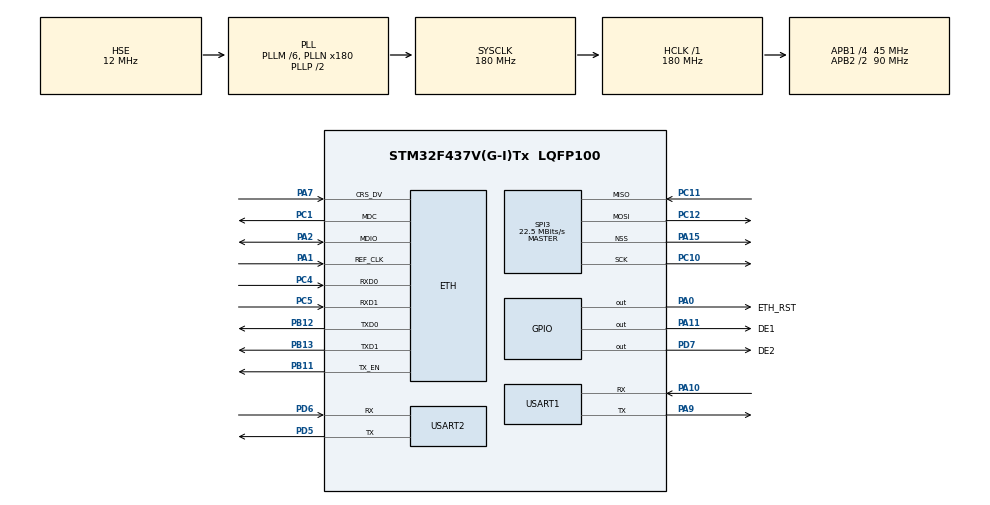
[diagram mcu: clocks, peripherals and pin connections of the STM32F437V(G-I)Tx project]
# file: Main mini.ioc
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ETH.MediaInterface=ETH_MEDIA_INTERFACE_RMII
ETH.PhyAddress=0
FREERTOS.BinarySemaphores01=InDataTCP,Dynamic,NULL;ModBusEnd,Dynamic,NULL
FREERTOS.Tasks01=MainTask,-2,256,mainTask,Default,NULL,Dynamic,NULL,NULL;ModBus1Task,-2,256,modbus1Task,Default,NULL,Dynamic,NULL,NULL;ModBus2Task,-2,256,modbus2Task,Default,NULL,Dynamic,NULL,NULL;TCP_Server,-2,256,tcp_server,Default,NULL,Dynamic,NULL,NULL
FREERTOS.configTOTAL_HEAP_SIZE=100000
LWIP.LWIP_DNS=1
LWIP.MEM_SIZE=2048
LWIP.Version=v2.1.2_Cube
Mcu.Family=STM32F4
Mcu.Name=STM32F437V(G-I)Tx
Mcu.Package=LQFP100
NVIC.ETH_IRQn=true\:5\:0\:false\:false\:true\:true\:false\:true
NVIC.PriorityGroup=NVIC_PRIORITYGROUP_4
NVIC.TIM7_IRQn=true\:0\:0\:false\:false\:true\:false\:false\:true
NVIC.TIM8_TRG_COM_TIM14_IRQn=true\:5\:0\:false\:false\:true\:true\:true\:true
NVIC.TIM8_UP_TIM13_IRQn=true\:5\:0\:false\:false\:true\:true\:true\:true
NVIC.TimeBase=TIM7_IRQn
NVIC.TimeBaseIP=TIM7
NVIC.USART1_IRQn=true\:5\:0\:false\:false\:true\:true\:true\:true
NVIC.USART2_IRQn=true\:5\:0\:false\:false\:true\:true\:true\:true
PA0/WKUP.GPIO_Label=ETH_RST
PA0/WKUP.Signal=GPIO_Output
PA1.Mode=RMII
PA1.Signal=ETH_REF_CLK
PA10.Mode=Asynchronous
PA10.Signal=USART1_RX
PA11.GPIO_Label=DE1
PA11.Signal=GPIO_Output
PA13.Mode=Serial_Wire
PA13.Signal=SYS_JTMS-SWDIO
PA14.Mode=Serial_Wire
PA14.Signal=SYS_JTCK-SWCLK
PA15.Mode=NSS_Signal_Hard_Output
PA15.Signal=SPI3_NSS
PA2.Mode=RMII
PA2.Signal=ETH_MDIO
PA7.Mode=RMII
PA7.Signal=ETH_CRS_DV
PA9.Mode=Asynchronous
PA9.Signal=USART1_TX
PB11.Mode=RMII
PB11.Signal=ETH_TX_EN
PB12.Mode=RMII
PB12.Signal=ETH_TXD0
PB13.Mode=RMII
PB13.Signal=ETH_TXD1
PC1.Mode=RMII
PC1.Signal=ETH_MDC
PC10.Mode=Full_Duplex_Master
PC10.Signal=SPI3_SCK
PC11.Mode=Full_Duplex_Master
PC11.Signal=SPI3_MISO
PC12.Mode=Full_Duplex_Master
PC12.Signal=SPI3_MOSI
PC4.Mode=RMII
PC4.Signal=ETH_RXD0
PC5.Mode=RMII
PC5.Signal=ETH_RXD1
PD5.Mode=Asynchronous
PD5.Signal=USART2_TX
PD6.Mode=Asynchronous
PD6.Signal=USART2_RX
PD7.GPIO_Label=DE2
PD7.Signal=GPIO_Output
PH0/OSC_IN.Mode=HSE-External-Oscillator
PH0/OSC_IN.Signal=RCC_OSC_IN
PH1/OSC_OUT.Mode=HSE-External-Oscillator
PH1/OSC_OUT.Signal=RCC_OSC_OUT
ProjectManager.HeapSize=0x200
ProjectManager.StackSize=0x400
ProjectManager.TargetToolchain=EWARM V8.32
RCC.48MHZClocksFreq_Value=90000000
RCC.AHBFreq_Value=180000000
RCC.APB1CLKDivider=RCC_HCLK_DIV4
RCC.APB1Freq_Value=45000000
RCC.APB1TimFreq_Value=90000000
RCC.APB2CLKDivider=RCC_HCLK_DIV2
RCC.APB2Freq_Value=90000000
RCC.APB2TimFreq_Value=180000000
RCC.CortexFreq_Value=180000000
RCC.HCLKFreq_Value=180000000
RCC.HSE_VALUE=12000000
RCC.HSI_VALUE=16000000
RCC.LSE_VALUE=32768
RCC.PLLM=6
RCC.PLLN=180
RCC.PLLSourceVirtual=RCC_PLLSOURCE_HSE
RCC.SYSCLKFreq_VALUE=180000000
RCC.SYSCLKSource=RCC_SYSCLKSOURCE_PLLCLK
RCC.VCOOutputFreq_Value=360000000
SPI3.CalculateBaudRate=22.5 MBits/s
SPI3.Direction=SPI_DIRECTION_2LINES
SPI3.Mode=SPI_MODE_MASTER
SPI3.VirtualNSS=VM_NSSHARD
SPI3.VirtualType=VM_MASTER
TIM13.Period=49
TIM13.Prescaler=179
TIM14.Period=49
TIM14.Prescaler=179
USART1.VirtualMode=VM_ASYNC
USART2.VirtualMode=VM_ASYNC
VP_FREERTOS_VS_CMSIS_V1.Mode=CMSIS_V1
VP_LWIP_VS_Enabled.Mode=Enabled
VP_SYS_VS_tim7.Mode=TIM7
VP_TIM13_VS_ClockSourceINT.Mode=Enable_Timer
VP_TIM14_VS_ClockSourceINT.Mode=Enable_Timer
board=custom

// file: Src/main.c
/* USER CODE BEGIN Header */
/**
  ******************************************************************************
  * @file           : main.c
  * @brief          : Main program body
  ******************************************************************************
  * @attention
  *
  * <h2><center>&copy; Copyright (c) 2021 STMicroelectronics.
  * All rights reserved.</center></h2>
  *
  * This software component is licensed by ST under Ultimate Liberty license
  * SLA0044, the "License"; You may not use this file except in compliance with
  * the License. You may obtain a copy of the License at:
  *                             www.st.com/SLA0044
  *
  ******************************************************************************
  */
/* USER CODE END Header */
#include "main.h"
#include "cmsis_os.h"
#include "lwip.h"
#include "spi.h"
#include "tim.h"
#include "usart.h"
#include "gpio.h"

/* USER CODE BEGIN Includes */
#include "mb.h"
#include "mbport.h"
#include "user_mb_app_m.h"
/* USER CODE END Includes */

void SystemClock_Config(void);
void MX_FREERTOS_Init(void);

int main(void)
{

  /* MCU Configuration--------------------------------------------------------*/

  /* Reset of all peripherals, Initializes the Flash interface and the Systick. */
  HAL_Init();

  /* Configure the system clock */
  SystemClock_Config();

  /* Initialize all configured peripherals */
  MX_GPIO_Init();
  MX_SPI3_Init();
  MX_USART1_UART_Init();
  MX_USART2_UART_Init();
  MX_TIM13_Init();
  MX_TIM14_Init();
  /* USER CODE BEGIN 2 */

  HAL_GPIO_WritePin(ETH_RST_GPIO_Port, ETH_RST_Pin, GPIO_PIN_RESET);
  HAL_Delay(300);
  HAL_GPIO_WritePin(ETH_RST_GPIO_Port, ETH_RST_Pin, GPIO_PIN_SET);
  /* USER CODE END 2 */

  /* Call init function for freertos objects (in freertos.c) */
  MX_FREERTOS_Init();
  /* Start scheduler */
  osKernelStart();

  /* We should never get here as control is now taken by the scheduler */
  /* Infinite loop */
  while (1)
  {

  }
}

void SystemClock_Config(void)
{
  RCC_OscInitTypeDef RCC_OscInitStruct = {0};
  RCC_ClkInitTypeDef RCC_ClkInitStruct = {0};

  /** Configure the main internal regulator output voltage
  */
  __HAL_RCC_PWR_CLK_ENABLE();
  __HAL_PWR_VOLTAGESCALING_CONFIG(PWR_REGULATOR_VOLTAGE_SCALE1);
  /** Initializes the RCC Oscillators according to the specified parameters
  * in the RCC_OscInitTypeDef structure.
  */
  RCC_OscInitStruct.OscillatorType = RCC_OSCILLATORTYPE_HSE;
  RCC_OscInitStruct.HSEState = RCC_HSE_ON;
  RCC_OscInitStruct.PLL.PLLState = RCC_PLL_ON;
  RCC_OscInitStruct.PLL.PLLSource = RCC_PLLSOURCE_HSE;
  RCC_OscInitStruct.PLL.PLLM = 6;
  RCC_OscInitStruct.PLL.PLLN = 180;
  RCC_OscInitStruct.PLL.PLLP = RCC_PLLP_DIV2;
  RCC_OscInitStruct.PLL.PLLQ = 4;
  if (HAL_RCC_OscConfig(&RCC_OscInitStruct) != HAL_OK)
  {
    Error_Handler();
  }
  /** Activate the Over-Drive mode
  */
  if (HAL_PWREx_EnableOverDrive() != HAL_OK)
  {
    Error_Handler();
  }
  /** Initializes the CPU, AHB and APB buses clocks
  */
  RCC_ClkInitStruct.ClockType = RCC_CLOCKTYPE_HCLK|RCC_CLOCKTYPE_SYSCLK
                              |RCC_CLOCKTYPE_PCLK1|RCC_CLOCKTYPE_PCLK2;
  RCC_ClkInitStruct.SYSCLKSource = RCC_SYSCLKSOURCE_PLLCLK;
  RCC_ClkInitStruct.AHBCLKDivider = RCC_SYSCLK_DIV1;
  RCC_ClkInitStruct.APB1CLKDivider = RCC_HCLK_DIV4;
  RCC_ClkInitStruct.APB2CLKDivider = RCC_HCLK_DIV2;

  if (HAL_RCC_ClockConfig(&RCC_ClkInitStruct, FLASH_LATENCY_5) != HAL_OK)
  {
    Error_Handler();
  }
}

void HAL_TIM_PeriodElapsedCallback(TIM_HandleTypeDef *htim)
{
  if (htim->Instance == TIM7) {
    HAL_IncTick();
  }
  /* USER CODE BEGIN Callback 1 */
  TIM_PeriodElapsedCallback(htim);
  /* USER CODE END Callback 1 */
}

void Error_Handler(void)
{
}

/************************ (C) COPYRIGHT STMicroelectronics *****END OF FILE****/

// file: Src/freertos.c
/* USER CODE BEGIN Header */
/**
******************************************************************************
* File Name          : freertos.c
* Description        : Code for freertos applications
******************************************************************************
* @attention
*
* <h2><center>&copy; Copyright (c) 2021 STMicroelectronics.
* All rights reserved.</center></h2>
*
* This software component is licensed by ST under Ultimate Liberty license
* SLA0044, the "License"; You may not use this file except in compliance with
* the License. You may obtain a copy of the License at:
*                             www.st.com/SLA0044
*
******************************************************************************
https://github.com/ADElectronics/STM32-FreeModbus-Example
*/
/* USER CODE END Header */

#include "FreeRTOS.h"
#include "task.h"
#include "main.h"
#include "cmsis_os.h"

/* USER CODE BEGIN Includes */
#include "ethernetif.h"
#include "lwip/timeouts.h"
#include "lwip.h"
#include "api.h"
#include <string.h>
#include "mb.h"
#include "mbport.h"
#include "user_mb_app_m.h"
/* USER CODE END Includes */

/* USER CODE BEGIN PTD */
extern uint16_t usMRegInBuf[MB_MASTER_TOTAL_SLAVE_NUM][M_REG_INPUT_NREGS];
extern uint16_t   usMRegHoldBuf[MB_MASTER_TOTAL_SLAVE_NUM][M_REG_HOLDING_NREGS];
eMBMasterReqErrCode req_M;

extern BOOL xNeedPoll;
extern UART_HandleTypeDef huart1;
extern UART_HandleTypeDef huart2;
extern TIM_HandleTypeDef htim13;
extern TIM_HandleTypeDef htim14;
/* USER CODE END PTD */

/* USER CODE BEGIN Variables */

//eth
extern struct netif gnetif;
char            *pIP;
uint32_t        ip = 0;

//хранит команду из TCP
uint8_t         input_data[100] = {0};
uint8_t 		response[100] = {0};

/* USER CODE END Variables */
osThreadId MainTaskHandle;
osThreadId ModBus1TaskHandle;
osThreadId ModBus2TaskHandle;
osThreadId TCP_ServerHandle;
osSemaphoreId InDataTCPHandle;
osSemaphoreId ModBusEndHandle;

void mainTask(void const * argument);
void modbus1Task(void const * argument);
void modbus2Task(void const * argument);
void tcp_server(void const * argument);

extern void MX_LWIP_Init(void);
void MX_FREERTOS_Init(void); /* (MISRA C 2004 rule 8.1) */

/* GetIdleTaskMemory prototype (linked to static allocation support) */
void vApplicationGetIdleTaskMemory( StaticTask_t **ppxIdleTaskTCBBuffer, StackType_t **ppxIdleTaskStackBuffer, uint32_t *pulIdleTaskStackSize );

/* USER CODE BEGIN GET_IDLE_TASK_MEMORY */
static StaticTask_t xIdleTaskTCBBuffer;
static StackType_t xIdleStack[configMINIMAL_STACK_SIZE];

void vApplicationGetIdleTaskMemory( StaticTask_t **ppxIdleTaskTCBBuffer, StackType_t **ppxIdleTaskStackBuffer, uint32_t *pulIdleTaskStackSize )
  {
    *ppxIdleTaskTCBBuffer = &xIdleTaskTCBBuffer;
    *ppxIdleTaskStackBuffer = &xIdleStack[0];
    *pulIdleTaskStackSize = configMINIMAL_STACK_SIZE;
    /* place for user code */
  }
/* USER CODE END GET_IDLE_TASK_MEMORY */

void MX_FREERTOS_Init(void) {

  /* Create the semaphores(s) */
  /* definition and creation of InDataTCP */
  osSemaphoreDef(InDataTCP);
  InDataTCPHandle = osSemaphoreCreate(osSemaphore(InDataTCP), 1);

  /* definition and creation of ModBusEnd */
  osSemaphoreDef(ModBusEnd);
  ModBusEndHandle = osSemaphoreCreate(osSemaphore(ModBusEnd), 1);

  /* Create the thread(s) */
  /* definition and creation of MainTask */
  osThreadDef(MainTask, mainTask, osPriorityLow, 0, 256);
  MainTaskHandle = osThreadCreate(osThread(MainTask), NULL);

  /* definition and creation of ModBus1Task */
  osThreadDef(ModBus1Task, modbus1Task, osPriorityLow, 0, 256);
  ModBus1TaskHandle = osThreadCreate(osThread(ModBus1Task), NULL);

  /* definition and creation of ModBus2Task */
  osThreadDef(ModBus2Task, modbus2Task, osPriorityLow, 0, 256);
  ModBus2TaskHandle = osThreadCreate(osThread(ModBus2Task), NULL);

  /* definition and creation of TCP_Server */
  osThreadDef(TCP_Server, tcp_server, osPriorityLow, 0, 256);
  TCP_ServerHandle = osThreadCreate(osThread(TCP_Server), NULL);

}

void mainTask(void const * argument)
{
  /* init code for LWIP */
  MX_LWIP_Init();
  /* USER CODE BEGIN mainTask */

    //printf("Start StartTask02\r\n");

//    struct netconn *nc;
//    struct netbuf *nb;
//    volatile err_t res;
//    uint16_t len;
//    ip_addr_t local_ip;
//    ip_addr_t remote_ip;
//    char buffer[512];// = pvPortMalloc(512);
//
//    while(gnetif.ip_addr.addr == 0) osDelay(10);
//    //printf("IP: %s\r\n", ip4addr_ntoa(&gnetif.ip_addr));
//
//    local_ip = gnetif.ip_addr;
//    ip4addr_aton("192.168.20.108", &remote_ip);
//
//    nc = netconn_new(NETCONN_TCP);
//    if(nc == NULL){
//      //printf("new error\r\n");
//      while(1)osDelay(1);
//    }
//
//    res = netconn_bind(nc, &local_ip, 0);
//    if(res != NULL){
//      //printf("bind error\r\n");
//      while(1)osDelay(1);
//    }
//
//    res = netconn_connect(nc, &remote_ip, 80);
//    if(res != NULL){
//      //printf("conn error\r\n");
//      while(1)osDelay(1);
//    }
//
//    sprintf(buffer, "from stm32\r\n");
//    sprintf(buffer, ip4addr_ntoa(&gnetif.ip_addr));
//    res = netconn_write(nc, &buffer, strlen(buffer), NETCONN_COPY);
//    if(res != NULL){
//      //printf("write error\r\n");
//      while(1)osDelay(1);
//    }
//
//    res = netconn_recv(nc, &nb);
//    if(res != NULL){
//      //printf("reciv error\r\n");
//      while(1)osDelay(1);
//    }
//    len = netbuf_len(nb);
//    netbuf_copy(nb, buffer, len);
//    netbuf_delete(nb);
//    //printf("Recive %d bytes:\r\n%s\r\n",len, buffer);
    /* Infinite loop */
    for(;;)
      {
//        //ethernetif_input(&gnetif);
//        //sys_check_timeouts();
//        res = netconn_recv(nc, &nb);
//        if(res != NULL){
//          //printf("reciv error\r\n");
//          while(1)osDelay(1);
//        }
//        len = netbuf_len(nb);
//        if(len != 0){
//          netbuf_copy(nb, buffer, len);
//          netbuf_delete(nb);
//          buffer[len] = 0;
//          //printf("Recive %d bytes:\r\n%s\r\n",len, buffer);
//          //HAL_UART_Transmit(&huart3, buffer, len, 100);
//          netconn_write(nc, &buffer, strlen(buffer), NETCONN_COPY);
//        }
//
        osDelay(10);

      }
  /* USER CODE END mainTask */
}

void modbus1Task(void const * argument)
{
  /* USER CODE BEGIN modbus1Task */
   eMBMasterInit( MB_RTU, &huart1, 115200, &htim13 );
   eMBMasterEnable( );
   xNeedPoll = TRUE;
   osSemaphoreWait(InDataTCPHandle,1);
   int32_t SemRet = 0;
   /* Infinite loop */
   for(;;)
   {
      eMBMasterPoll();
      osDelay(1);
//      if(xNeedPoll)
//      {
//         req_M = eMBMasterReqReadHoldingRegister(0x03, 0, 2, 2);
//         xNeedPoll = FALSE;
//      }
      //ждем симафора
      SemRet = osSemaphoreWait(InDataTCPHandle,1);
      if(SemRet != osErrorOS)
      {
         switch(input_data[0])
         {
           case 1: // read
            {
               for(int i = 3, a = 0; a < input_data[1]; ++i, ++a)//отправить запросы в 485
               {
                  while(!xNeedPoll)
                  {}                                    //UCHAR ucSndAddr, USHORT usRegAddr, USHORT usNRegs, LONG lTimeOut
                  req_M = eMBMasterReqReadHoldingRegister(input_data[i], input_data[2], 1, 2000);
                  xNeedPoll = FALSE;
               }
//               for(int i = 0; i < input_data[1]; ++i)// сохранить в буфер отправки ответы
//               {
//
//               }
//               req_M = eMBMasterWaitRequestFinish();
//               while(eMBMasterWaitRequestFinish() != MB_MRE_NO_ERR)
//               {}
               //выдать симафор
//               osSemaphoreRelease(ModBusEndHandle);
               break;
            }
           case 2: // write
            {
               USHORT temp = 0;
               for(int i = 0, a = 3; i < input_data[1]; ++i, a+=3)//отправить запросы в 485
               {
                  while(!xNeedPoll){}

                  temp = temp | (input_data[a+1] << 8);
                  temp = temp | input_data[a+2];
                                                      //HAR ucSndAddr, USHORT usRegAddr, USHORT usRegData, LONG lTimeOut
                  req_M = eMBMasterReqWriteHoldingRegister(input_data[a], input_data[2], temp, 2);
                  xNeedPoll = FALSE;
                  ++i;
                  // сохранить в буфер отправки ответы req_M
               }
//               while(!xNeedPoll)
//               {}
//               //выдать симафор
//               osSemaphoreRelease(ModBusEndHandle);
               break;
            }
           default:
            {
               //netconn_write(newconn,0,1,NETCONN_COPY);
               break;
            }

         }
      }

   }
  /* USER CODE END modbus1Task */
}

void modbus2Task(void const * argument)
{
    for(;;)
      {
        osDelay(1);
      }
}

void tcp_server(void const * argument)
{
  /* USER CODE BEGIN tcp_server */
  /* Infinite loop */
 //TCP connection vars
   err_t                err, accept_err;
   struct netbuf        buffer;
   struct netconn 	connection , newconnection;
   struct netbuf 	*buf = &buffer; //bufferized input data
   struct netconn 	*conn = &connection, *newconn = &newconnection; //contains info about connection inc. type, port, buf pointers etc.
   void 		*in_data = NULL;
   uint16_t 		data_size = 0;
   osSemaphoreWait(ModBusEndHandle,1000);
   int32_t SemRet = 0;
   //sizeH = xPortGetMinimumEverFreeHeapSize();
  /* Infinite loop */
  for(;;)
  {
    while(gnetif.ip_addr.addr == 0) osDelay(10);

    if((gnetif.ip_addr.addr != 0) && (gnetif.ip_addr.addr != ip)){
       ip = gnetif.ip_addr.addr;
       pIP = ip4addr_ntoa(&gnetif.ip_addr);
    }

     conn = netconn_new(NETCONN_TCP);
     if (conn!=NULL)
     {
        err = netconn_bind(conn,NULL,81);//assign port number to connection
        if (err==ERR_OK)
        {
           netconn_listen(conn);//set port to listening mode
           while(1)
           {
              accept_err=netconn_accept(conn,&newconn);//suspend until new connection
              if (accept_err==ERR_OK)
              {
                 while (netconn_recv(newconn,&buf)==ERR_OK)//suspend until data received
                 {
                    do
                    {
                       netbuf_data(buf,&in_data,&data_size);//get pointer and data size of the buffer
                       memcpy((void*)input_data,in_data,data_size);

                       //выдать симафор для modbus
                       osSemaphoreRelease(InDataTCPHandle);

                       // ожидание семафора
                      SemRet = osSemaphoreWait(ModBusEndHandle,100);
                      int a = 1;
                       //проверить если семафор не пришел то вернуть ощибку
                      if(SemRet != 0)
                      {
                         response[0] = -1;
                         xNeedPoll = TRUE;
                      }else{
                         response[0] = 0;
                         //обработать данные из modbus

                         for(volatile int i = 3; a < input_data[1]; ++i, ++a)
                         {
//                            response[a] = (uint8_t)(usMRegHoldBuf[input_data[i]-1][input_data[2]]);
//                            response[a+1] = (uint8_t)(usMRegHoldBuf[input_data[i]-1][input_data[2]]);
                            (*((short *)(&(response[a]))))=(usMRegHoldBuf[input_data[i]-1][input_data[2]]);
                         }
                      }
                       netconn_write(newconn,response,((a*2)+1),NETCONN_COPY);
                       __ASM("NOP");
                    } while (netbuf_next(buf) >= 0);
                    netbuf_delete(buf);
                 }
                 netconn_close(newconn);
                 netconn_delete(newconn);
              } else netconn_delete(newconn);
              osDelay(20);
           }
        }
     }
    osDelay(1000);
  }
  /* USER CODE END tcp_server */
}

/************************ (C) COPYRIGHT STMicroelectronics *****END OF FILE****/
